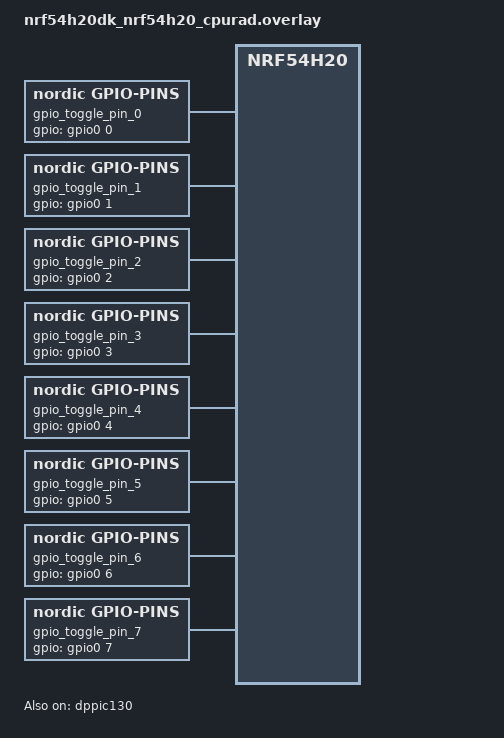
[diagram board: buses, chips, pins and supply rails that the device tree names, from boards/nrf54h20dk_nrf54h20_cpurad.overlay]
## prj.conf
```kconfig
#
# Copyright (c) 2023 Nordic Semiconductor
#
# SPDX-License-Identifier: LicenseRef-Nordic-5-Clause
#

CONFIG_SERIAL=y
CONFIG_UART_CONSOLE=y
CONFIG_LOG=y

CONFIG_CLOCK_CONTROL=y

CONFIG_PM=y
CONFIG_POWEROFF=y

CONFIG_BT_LL_SOFTDEVICE_BUILD_TYPE_SRC_DEBUG=y
CONFIG_MPSL_BUILD_TYPE_SRC_DEBUG=y
```

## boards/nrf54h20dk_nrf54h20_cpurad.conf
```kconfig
CONFIG_BT_LL_SOFTDEVICE_BUILD_TYPE_SRC_DEBUG=y
CONFIG_MPSL_BUILD_TYPE_SRC_DEBUG=y

#CONFIG_MPSL_USE_ZEPHYR_PM=y
```

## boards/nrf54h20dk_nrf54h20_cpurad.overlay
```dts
/* Use dummy GPIO pins entries to allocate the pins to Radio domain.
 *
 * Note: this allocation has to mach to DBPX_PIN macros.
 */
 / {
       gpio_toggle_pin_0: gpio-toggle-pin-0 {
               compatible = "nordic,gpio-pins";
               gpios = <&gpio0 0 GPIO_ACTIVE_HIGH>;
               status = "okay";
       };

       gpio_toggle_pin_1: gpio-toggle-pin-1 {
               compatible = "nordic,gpio-pins";
               gpios = <&gpio0 1 GPIO_ACTIVE_HIGH>;
               status = "okay";
       };

       gpio_toggle_pin_2: gpio-toggle-pin-2 {
               compatible = "nordic,gpio-pins";
               gpios = <&gpio0 2 GPIO_ACTIVE_HIGH>;
               status = "okay";
       };

       gpio_toggle_pin_3: gpio-toggle-pin-3 {
               compatible = "nordic,gpio-pins";
               gpios = <&gpio0 3 GPIO_ACTIVE_HIGH>;
               status = "okay";
       };

       gpio_toggle_pin_4: gpio-toggle-pin-4 {
               compatible = "nordic,gpio-pins";
               gpios = <&gpio0 4 GPIO_ACTIVE_HIGH>;
               status = "okay";
       };

       gpio_toggle_pin_5: gpio-toggle-pin-5 {
               compatible = "nordic,gpio-pins";
               gpios = <&gpio0 5 GPIO_ACTIVE_HIGH>;
               status = "okay";
       };

       gpio_toggle_pin_6: gpio-toggle-pin-6 {
               compatible = "nordic,gpio-pins";
               gpios = <&gpio0 6 GPIO_ACTIVE_HIGH>;
               status = "okay";
       };

       gpio_toggle_pin_7: gpio-toggle-pin-7 {
               compatible = "nordic,gpio-pins";
               gpios = <&gpio0 7 GPIO_ACTIVE_HIGH>;
               status = "okay";
       };

       // gpio_toggle_pin_8: gpio-toggle-pin-8 {
       //      compatible = "nordic,gpio-pins";
       //      gpios = <&gpio1 1 GPIO_ACTIVE_HIGH>;
       //      status = "okay";
       // };

       // gpio_toggle_pin_9: gpio-toggle-pin-9 {
       //      compatible = "nordic,gpio-pins";
       //      gpios = <&gpio1 2 GPIO_ACTIVE_HIGH>;
       //      status = "okay";
       // };

       // gpio_toggle_pin_10: gpio-toggle-pin-10 {
       //      compatible = "nordic,gpio-pins";
       //      gpios = <&gpio1 3 GPIO_ACTIVE_HIGH>;
       //      status = "okay";
       // };

       // gpio_toggle_pin_11: gpio-toggle-pin-11 {
       //      compatible = "nordic,gpio-pins";
       //      gpios = <&gpio1 7 GPIO_ACTIVE_HIGH>;
       //      status = "okay";
       // };

       // gpio_toggle_pin_12: gpio-toggle-pin-12 {
       //      compatible = "nordic,gpio-pins";
       //      gpios = <&gpio1 8 GPIO_ACTIVE_HIGH>;
       //      status = "okay";
       // };

       // gpio_toggle_pin_13: gpio-toggle-pin-13 {
       //      compatible = "nordic,gpio-pins";
       //      gpios = <&gpio1 9 GPIO_ACTIVE_HIGH>;
       //      status = "okay";
       // };

       // gpio_toggle_pin_14: gpio-toggle-pin-14 {
       //      compatible = "nordic,gpio-pins";
       //      gpios = <&gpio1 10 GPIO_ACTIVE_HIGH>;
       //      status = "okay";
       // };

       // gpio_toggle_pin_15: gpio-toggle-pin-15 {
       //      compatible = "nordic,gpio-pins";
       //      gpios = <&gpio1 11 GPIO_ACTIVE_HIGH>;
       //      status = "okay";
       // };
};

&dppic130 {
       owned-channels = <0 1 2 3>;
       owned-channel-groups = <0 1>;
       status = "okay";
};

/* IPCT130 in Global domain and IPCT in Radio domain are used to create IPCTMAP entry.
 * That means channels: source and sink create pairs that are applied by Secure Domain FW on boot.
 * These entries has to be provided to pin_transport_debug by calls: debug_allow_ipct_channel
 * and debug_allow_global_channel.
 *
 * Note: Channel 0 in IPCT in Radio domai is used by GRTC to deliver the GRTC events to Radio
 *       domain. It is setup as sink-channel-link in common NCS DTS file.
 */
&cpurad_ipct {
       source-channel-links = <1 13 1
                               2 13 2
                               3 13 3>;
};

/* Note: IPCT130 in Global domain channel 0 is used by GRTC to deliver the GRTC events to Radio
 *       domain. It is setup as source-channel-link in common NCS DTS file.
 */
&ipct130 {
       status = "okay";
       owned-channels = <0 1 2 3>;
       sink-channel-links = <1 3 1
                             2 3 2
                             3 3 3>;
};

/* Example of GPIOTE channels allocation for Radio core.
 *
 * Note: By default all GPIOTE130 channels are allocated to APP Core.
 *       To use some of them in Radio domain you have to change the allocation
 *       in APP core DTS file.
 */
&gpiote130 {
       status = "okay";
       owned-channels = <0 1 2 3>;
};
```

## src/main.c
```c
/*
 * Copyright (c) 2023 Nordic Semiconductor ASA
 *
 * SPDX-License-Identifier: LicenseRef-Nordic-5-Clause
 */

#include <errno.h>
#include <zephyr/logging/log.h>
#include <zephyr/kernel.h>
#include <zephyr/pm/policy.h>

#include <hal/nrf_cache.h>
#include <hal/nrf_lrcconf.h>
#include <hal/nrf_memconf.h>

#include "ipc_bt.h"

LOG_MODULE_REGISTER(ipc_radio, CONFIG_IPC_RADIO_LOG_LEVEL);

#if !(CONFIG_IPC_RADIO_802154 || CONFIG_IPC_RADIO_BT)
#error "No radio serialization selected."
#endif

#define USE_CACHE_STORE_RESTORE

int main(void)
{
	int err;

	//pm_policy_state_lock_get(PM_STATE_SUSPEND_TO_RAM, PM_ALL_SUBSTATES);
	//pm_policy_state_lock_get(PM_STATE_SUSPEND_TO_IDLE, PM_ALL_SUBSTATES);
#if defined(USE_CACHE_STORE_RESTORE)
	nrf_lrcconf_poweron_force_set(NRF_LRCCONF010, NRF_LRCCONF_POWER_DOMAIN_0, false);
	nrf_memconf_ramblock_ret_enable_set(NRF_MEMCONF, RAMBLOCK_POWER_ID,
							RAMBLOCK_CONTROL_BIT_DCACHE, true);
	nrf_memconf_ramblock_ret_enable_set(NRF_MEMCONF, RAMBLOCK_POWER_ID,
							RAMBLOCK_CONTROL_BIT_ICACHE, true);
	nrf_memconf_ramblock_ret2_enable_set(NRF_MEMCONF, RAMBLOCK_POWER_ID,
							RAMBLOCK_CONTROL_BIT_DCACHE, true);
	nrf_memconf_ramblock_ret2_enable_set(NRF_MEMCONF, RAMBLOCK_POWER_ID,
							RAMBLOCK_CONTROL_BIT_ICACHE, true);
#endif /* USE_CACHE_STORE_RESTORE */

	err = ipc_bt_init();
	if ((err) && (err != -ENOSYS)) {
		LOG_ERR("Error initializing ipc radio %d", err);
		return err;
	}

	for (;;) {
		err = ipc_bt_process();

		if (err == -ENOSYS) {
			/* Particular implementation does not need the process function */
			return 0;
		} else if (err) {
			LOG_ERR("Error processing ipc radio %d", err);
			return err;
		}
	}
}
```

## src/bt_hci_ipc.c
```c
/*
 * Copyright (c) 2023 Nordic Semiconductor ASA
 *
 * SPDX-License-Identifier: LicenseRef-Nordic-5-Clause
 */

#include <errno.h>
#include <stddef.h>
#include <stdio.h>

#include <zephyr/kernel.h>
#include <zephyr/device.h>

#include <zephyr/sys/byteorder.h>
#include <zephyr/sys/util.h>
#include <zephyr/net_buf.h>

#include <zephyr/bluetooth/bluetooth.h>
#include <zephyr/bluetooth/l2cap.h>
#include <zephyr/bluetooth/hci.h>
#include <zephyr/bluetooth/buf.h>
#include <zephyr/bluetooth/hci_raw.h>

#include <zephyr/ipc/ipc_service.h>

#if defined(CONFIG_BT_HCI_VS_FATAL_ERROR)
#include <zephyr/logging/log_ctrl.h>
#endif /* CONFIG_BT_HCI_VS_FATAL_ERROR */

#include <zephyr/logging/log.h>

#include "ipc_bt.h"

LOG_MODULE_DECLARE(ipc_radio, CONFIG_IPC_RADIO_LOG_LEVEL);

#if defined(CONFIG_BT_CTLR_ASSERT_HANDLER) || defined(CONFIG_BT_HCI_VS_FATAL_ERROR)
static bool ipc_ept_ready;
#endif /* CONFIG_BT_CTLR_ASSERT_HANDLER || CONFIG_BT_HCI_VS_FATAL_ERROR */

static K_SEM_DEFINE(ipc_bound_sem, 0, 1);

static struct ipc_ept hci_ept;

static K_FIFO_DEFINE(tx_queue);
static K_FIFO_DEFINE(rx_queue);

enum hci_h4_type {
	HCI_H4_CMD = 0x01, /* rx */
	HCI_H4_ACL = 0x02, /* rx */
	HCI_H4_EVT = 0x04, /* tx */
	HCI_H4_ISO = 0x05  /* rx */
};

#define HCI_FATAL_MSG true
#define HCI_REGULAR_MSG false

static void recv_cmd(const uint8_t *data, size_t len)
{
	const struct bt_hci_cmd_hdr *hdr = (const struct bt_hci_cmd_hdr *)data;
	struct net_buf *buf;

	if (len < sizeof(*hdr)) {
		LOG_ERR("Not enough data for command header.");
		return;
	}

	if ((len - sizeof(*hdr)) != hdr->param_len) {
		LOG_ERR("Command param_len does not match the remaining data length.");
		return;
	}

	buf = bt_buf_get_tx(BT_BUF_CMD, K_NO_WAIT, hdr, sizeof(*hdr));
	if (!buf) {
		LOG_ERR("No available command buffers.");
		return;
	}

	data += sizeof(*hdr);
	len -= sizeof(*hdr);

	if (len > net_buf_tailroom(buf)) {
		LOG_ERR("Not enough space in buffer.");
		net_buf_unref(buf);
		return;
	}

	LOG_DBG("Received HCI CMD packet (opcode: %#x, len: %u).",
						sys_le16_to_cpu(hdr->opcode), hdr->param_len);

	net_buf_add_mem(buf, data, len);
	k_fifo_put(&tx_queue, buf);
}

static void recv_acl(const uint8_t *data, size_t len)
{
	const struct bt_hci_acl_hdr *hdr = (const struct bt_hci_acl_hdr *)data;
	struct net_buf *buf;

	if (len < sizeof(*hdr)) {
		LOG_ERR("Not enough data for ACL header.");
		return;
	}

	if ((len - sizeof(*hdr)) != sys_le16_to_cpu(hdr->len)) {
		LOG_ERR("ACL payload length does not match the remaining data length.");
		return;
	}

	buf = bt_buf_get_tx(BT_BUF_ACL_OUT, K_NO_WAIT, hdr, sizeof(*hdr));
	if (!buf) {
		LOG_ERR("No available ACL buffers.");
		return;
	}

	data += sizeof(*hdr);
	len -= sizeof(*hdr);

	if (len > net_buf_tailroom(buf)) {
		LOG_ERR("Not enough space in buffer.");
		net_buf_unref(buf);
		return;
	}

	LOG_DBG("Received HCI ACL packet (handle: %u, len: %u).",
					sys_le16_to_cpu(hdr->handle), sys_le16_to_cpu(hdr->len));

	net_buf_add_mem(buf, data, len);
	k_fifo_put(&tx_queue, buf);
}

static void recv_iso(const uint8_t *data, size_t len)
{
	const struct bt_hci_iso_hdr *hdr = (const struct bt_hci_iso_hdr *)data;
	struct net_buf *buf;

	if (len < sizeof(*hdr)) {
		LOG_ERR("Not enough data for ISO header.");
		return;
	}

	if ((len - sizeof(*hdr)) != bt_iso_hdr_len(sys_le16_to_cpu(hdr->len))) {
		LOG_ERR("ISO payload length does not match the remaining data length.");
		return;
	}

	buf = bt_buf_get_tx(BT_BUF_ISO_OUT, K_NO_WAIT, hdr, sizeof(*hdr));
	if (!buf) {
		LOG_ERR("No available ISO buffers.");
		return;
	}

	data += sizeof(*hdr);
	len -= sizeof(*hdr);

	if (len > net_buf_tailroom(buf)) {
		LOG_ERR("Not enough space in buffer.");
		net_buf_unref(buf);
		return;
	}

	LOG_DBG("Received HCI ISO packet (handle: %u, len: %u).",
					sys_le16_to_cpu(hdr->handle), sys_le16_to_cpu(hdr->len));

	net_buf_add_mem(buf, data, len);
	k_fifo_put(&tx_queue, buf);
}

static void send(struct net_buf *buf, bool is_fatal_err)
{
	uint8_t type;
	uint8_t retries = 0;
	int ret;

	LOG_DBG("buf %p type %u len %u", buf, bt_buf_get_type(buf), buf->len);
	LOG_HEXDUMP_DBG(buf->data, buf->len, "Controller buffer:");

	switch (bt_buf_get_type(buf)) {
	case BT_BUF_ACL_IN:
		type = HCI_H4_ACL;
		break;
	case BT_BUF_EVT:
		type = HCI_H4_EVT;
		break;
	case BT_BUF_ISO_IN:
		type = HCI_H4_ISO;
		break;
	default:
		LOG_ERR("Unknown type %u", bt_buf_get_type(buf));
		net_buf_unref(buf);
		return;
	}
	net_buf_push_u8(buf, type);

	LOG_HEXDUMP_DBG(buf->data, buf->len, "Final HCI buffer:");

	do {
		ret = ipc_service_send(&hci_ept, buf->data, buf->len);
		if (ret < 0) {
			retries++;
			if (retries > 10) {
				LOG_WRN("IPC send has been blocked during 10 retires.");
				retries = 0;
			}

			if (is_fatal_err) {
				LOG_ERR("IPC service send error: %d", ret);
			} else {
				k_yield();
			}
		}
	} while (ret < 0);

	LOG_INF("Sent message of %d bytes.", ret);
#if IS_ENABLED(CONFIG_SERIAL)
	printk("HCI TX DATA:");
	for(int idx = 0; idx < buf->len; idx++) {
		printk("%x ", ((uint8_t*)buf->data)[idx]);
	}
	printk("\n");
#endif
	net_buf_unref(buf);
}

static void bound(void *priv)
{
#if defined(CONFIG_BT_CTLR_ASSERT_HANDLER) || defined(CONFIG_BT_HCI_VS_FATAL_ERROR)
	ipc_ept_ready = true;
#endif /* CONFIG_BT_CTLR_ASSERT_HANDLER || CONFIG_BT_HCI_VS_FATAL_ERROR */

	k_sem_give(&ipc_bound_sem);
}

static void recv(const void *data, size_t len, void *priv)
{
	const uint8_t *tmp = (const uint8_t *)data;
	enum hci_h4_type type;

	LOG_INF("Received hci message of %u bytes.", len);
#if IS_ENABLED(CONFIG_SERIAL)
	printk("HCI RX DATA:");
	for(int idx = 0; idx < len; idx++) {
		printk("%x ", ((uint8_t*)data)[idx]);
	}
	printk("\n");
	//LOG_HEXDUMP_DBG(data, len, "HCI data:");
#endif
	type = (enum hci_h4_type)*tmp++;
	len -= sizeof(type);

	switch (type) {
	case HCI_H4_CMD:
		recv_cmd(tmp, len);
		break;

	case HCI_H4_ACL:
		recv_acl(tmp, len);
		break;

	case HCI_H4_ISO:
		recv_iso(tmp, len);
		break;

	default:
		LOG_ERR("Unknown HCI type %u.", type);
		return;
	}
}

static void tx_thread(void)
{
	struct net_buf *buf;
	int err;

	while (1) {
		buf = k_fifo_get(&tx_queue, K_FOREVER);
		err = bt_send(buf);
		if (err) {
			LOG_ERR("bt_send failed err: %d.", err);
			net_buf_unref(buf);
		}

		k_yield();
	}
}

K_THREAD_DEFINE(tx_thread_id, CONFIG_BT_HCI_TX_STACK_SIZE, tx_thread,
		NULL, NULL, NULL,
		CONFIG_BT_HCI_TX_PRIO, 0, 0);

static struct ipc_ept_cfg hci_ept_cfg = {
	.name = "nrf_bt_hci",
	.cb = {
		.bound    = bound,
		.received = recv,
	},
};

#if defined(CONFIG_BT_CTLR_ASSERT_HANDLER)
void bt_ctlr_assert_handle(char *file, uint32_t line)
{
	(void)irq_lock();

	LOG_ERR("HCI Fatal error in: %s at %d.", file, line);

#if defined(CONFIG_BT_HCI_VS_FATAL_ERROR)
	if (ipc_ept_ready) {
		struct net_buf *buf;

		buf = hci_vs_err_assert(file, line);
		if (!buf) {
			send(buf, HCI_FATAL_MSG);
		} else {
			LOG_ERR("Can't send Fatal Error HCI event.");
		}
	} else {
		LOG_ERR("HCI Fatal error before IPC endpoint is ready.");
	}

#else /* !CONFIG_BT_HCI_VS_FATAL_ERROR */
	LOG_ERR("Controller assert in: %s at %d.", file, line);

#endif /* !CONFIG_BT_HCI_VS_FATAL_ERROR */

	for (;;) {
	};
}
#endif /* CONFIG_BT_CTLR_ASSERT_HANDLER */

#if defined(CONFIG_BT_HCI_VS_FATAL_ERROR)
void k_sys_fatal_error_handler(unsigned int reason, const struct arch_esf *esf)
{
	LOG_PANIC();

	(void)irq_lock();

	if ((!esf) && (ipc_ept_ready)) {
		struct net_buf *buf;

		buf = hci_vs_err_stack_frame(reason, esf);
		if (!buf) {
			send(buf, HCI_FATAL_MSG);
		} else {
			LOG_ERR("Can't create Fatal Error HCI event.");
		}
	}

	for (;;) {
	};

	CODE_UNREACHABLE;
}
#endif /* CONFIG_BT_HCI_VS_FATAL_ERROR */

int ipc_bt_init(void)
{
	int err;
	const struct device *hci_ipc_instance = DEVICE_DT_GET(DT_CHOSEN(zephyr_bt_hci_ipc));

	LOG_INF("Initializing ipc_radio bt_hci.");

	err = bt_enable_raw(&rx_queue);
	if (err) {
		LOG_ERR("bt_enable_raw failed: %d.", err);
		return err;
	}

	err = ipc_service_open_instance(hci_ipc_instance);
	if ((err < 0) && (err != -EALREADY)) {
		LOG_ERR("IPC service instance initialization failed: %d.", err);
		return err;
	}

	err = ipc_service_register_endpoint(hci_ipc_instance, &hci_ept, &hci_ept_cfg);
	if (err) {
		LOG_ERR("Registering endpoint failed: %d.", err);
		return err;
	}

	return 0;
}

int ipc_bt_process(void)
{
	struct net_buf *buf;

	k_sem_take(&ipc_bound_sem, K_FOREVER);

	while (1) {
		buf = k_fifo_get(&rx_queue, K_FOREVER);
		send(buf, HCI_REGULAR_MSG);
#if IS_ENABLED(CONFIG_SERIAL)
		printk("IPC_BT loop\n");
#endif
	}

	return 0;
}
```
